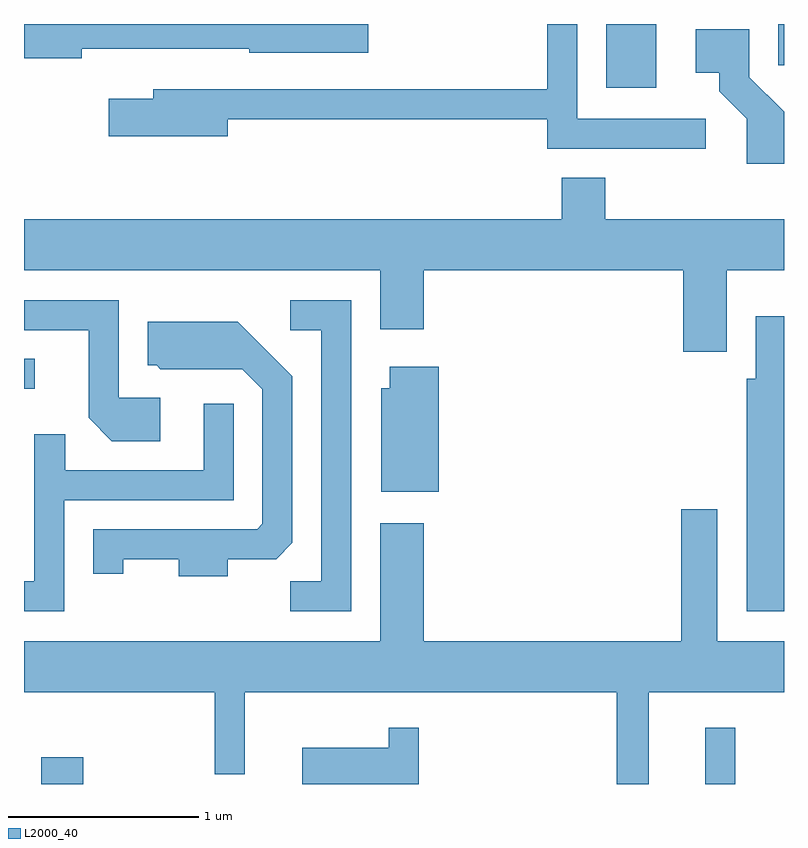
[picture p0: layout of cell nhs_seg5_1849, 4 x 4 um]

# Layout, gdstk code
import gdstk
lib = gdstk.Library(unit=1e-6, precision=1e-09)
def R(c, l, rs):  # rectangles x0, y0, x1, y1
    for r in rs: c.add(gdstk.rectangle(r[:2], r[2:], *l))
def P(c, l, *ps):  # polygons
    for p in ps: c.add(gdstk.Polygon(p, *l))
L2000_40 = (2000, 40)

nhs_seg5_1849 = lib.new_cell('nhs_seg5_1849')
R(nhs_seg5_1849, L2000_40, [(239.701,1474.072,239.924,1474.214), (243.196,1474.072,243.354,1474.368), (239.611,1476.151,239.668,1476.309), (242.676,1477.736,242.939,1478.072), (243.581,1477.856,243.611,1478.072)])
P(nhs_seg5_1849, L2000_40, [(239.914,1477.941),(240.796,1477.941),(240.796,1477.921),(241.424,1477.921),(241.424,1478.072),(239.611,1478.072),(239.611,1477.891),(239.914,1477.891)],
  [(243.198,1477.574),(242.524,1477.574),(242.524,1478.072),(242.366,1478.072),(242.366,1477.729),(240.291,1477.729),(240.291,1477.679),(240.056,1477.679),(240.056,1477.481),(240.684,1477.481),(240.684,1477.571),(242.366,1477.571),(242.366,1477.416),(243.198,1477.416)],
  [(243.611,1477.61),(243.429,1477.792),(243.429,1478.044),(243.146,1478.044),(243.146,1477.816),(243.271,1477.816),(243.271,1477.719),(243.416,1477.574),(243.416,1477.336),(243.611,1477.336)],
  [(243.309,1476.776),(243.611,1476.776),(243.611,1477.044),(242.669,1477.044),(242.669,1477.264),(242.441,1477.264),(242.441,1477.044),(239.611,1477.044),(239.611,1476.776),(241.486,1476.776),(241.486,1476.466),(241.714,1476.466),(241.714,1476.776),(243.081,1476.776),(243.081,1476.346),(243.309,1476.346)],
  [(241.334,1476.619),(241.013,1476.619),(241.013,1476.461),(241.176,1476.461),(241.176,1475.139),(241.013,1475.139),(241.013,1474.981),(241.334,1474.981)],
  [(240.329,1476.104),(240.109,1476.104),(240.109,1476.619),(239.611,1476.619),(239.611,1476.461),(239.951,1476.461),(239.951,1475.999),(240.074,1475.876),(240.329,1475.876)],
  [(243.611,1476.534),(243.461,1476.534),(243.461,1476.204),(243.416,1476.204),(243.416,1474.981),(243.611,1474.981)],
  [(240.684,1475.256),(240.939,1475.256),(241.024,1475.342),(241.024,1476.217),(240.737,1476.504),(240.261,1476.504),(240.261,1476.276),(240.309,1476.276),(240.329,1476.256),(240.759,1476.256),(240.866,1476.149),(240.866,1475.442),(240.839,1475.414),(239.976,1475.414),(239.976,1475.178),(240.134,1475.178),(240.134,1475.256),(240.426,1475.256),(240.426,1475.166),(240.684,1475.166)],
  [(241.794,1476.269),(241.536,1476.269),(241.536,1476.154),(241.491,1476.154),(241.491,1475.611),(241.794,1475.611)],
  [(239.824,1475.566),(240.714,1475.566),(240.714,1476.073),(240.556,1476.073),(240.556,1475.724),(239.829,1475.724),(239.829,1475.913),(239.666,1475.913),(239.666,1475.139),(239.611,1475.139),(239.611,1474.981),(239.824,1474.981)],
  [(242.899,1474.556),(243.611,1474.556),(243.611,1474.824),(243.259,1474.824),(243.259,1475.519),(243.071,1475.519),(243.071,1474.824),(241.714,1474.824),(241.714,1475.444),(241.486,1475.444),(241.486,1474.824),(239.611,1474.824),(239.611,1474.556),(240.616,1474.556),(240.616,1474.123),(240.774,1474.123),(240.774,1474.556),(242.731,1474.556),(242.731,1474.072),(242.899,1474.072)],
  [(241.689,1474.368),(241.531,1474.368),(241.531,1474.264),(241.076,1474.264),(241.076,1474.072),(241.689,1474.072)])

lib.write_gds('nhs_seg5_1849.gds')
